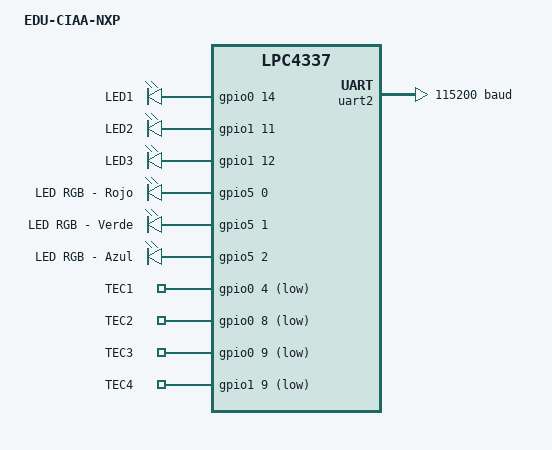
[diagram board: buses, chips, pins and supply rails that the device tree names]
/*
 * Copyright (c) 2026 UTN FRA - Laboratorio de Sistemas Embebidos
 * SPDX-License-Identifier: Apache-2.0
 */

/dts-v1/;
#include <nxp/nxp_lpc4337.dtsi>
#include <dt-bindings/pinctrl/lpc43xx-pinctrl.h>

/ {
	model = "EDU-CIAA-NXP";
	compatible = "ciaa,edu-ciaa-nxp";

	chosen {
		zephyr,sram  = &sram0;
		zephyr,flash = &flash0;
		zephyr,console = &uart2;
	};

	/*
	 * Nombres y pines confirmados contra la tabla de la sAPI del firmware
	 * oficial del proyecto CIAA (sapi_gpio.c). LED1/LED2/LED3 quedan en
	 * GPIO por default de reset (FUNC0); LEDR/LEDG/LEDB (el LED RGB)
	 * requieren FUNC4 explícito — ver el grupo leds_default de &pinctrl
	 * más abajo y la nota en lpc43xx-pinctrl.h.
	 */
	leds {
		compatible = "gpio-leds";

		led_1: led_1 {
			gpios = <&gpio0 14 GPIO_ACTIVE_HIGH>;
			label = "LED1";
		};

		led_2: led_2 {
			gpios = <&gpio1 11 GPIO_ACTIVE_HIGH>;
			label = "LED2";
		};

		led_3: led_3 {
			gpios = <&gpio1 12 GPIO_ACTIVE_HIGH>;
			label = "LED3";
		};

		led_r: led_r {
			gpios = <&gpio5 0 GPIO_ACTIVE_HIGH>;
			label = "LED RGB - Rojo";
		};

		led_g: led_g {
			gpios = <&gpio5 1 GPIO_ACTIVE_HIGH>;
			label = "LED RGB - Verde";
		};

		led_b: led_b {
			gpios = <&gpio5 2 GPIO_ACTIVE_HIGH>;
			label = "LED RGB - Azul";
		};
	};

	/* Pulsadores TEC1-TEC4. Activos en bajo con pull-up (convención
	 * estándar de botón a masa usada por la sAPI del proyecto CIAA). */
	buttons: gpio_keys {
		compatible = "gpio-keys";

		tec_1: tec_1 {
			gpios = <&gpio0 4 (GPIO_ACTIVE_LOW | GPIO_PULL_UP)>;
			label = "TEC1";
		};

		tec_2: tec_2 {
			gpios = <&gpio0 8 (GPIO_ACTIVE_LOW | GPIO_PULL_UP)>;
			label = "TEC2";
		};

		tec_3: tec_3 {
			gpios = <&gpio0 9 (GPIO_ACTIVE_LOW | GPIO_PULL_UP)>;
			label = "TEC3";
		};

		tec_4: tec_4 {
			gpios = <&gpio1 9 (GPIO_ACTIVE_LOW | GPIO_PULL_UP)>;
			label = "TEC4";
		};
	};

	aliases {
		led0 = &led_1;
		led1 = &led_2;
		led2 = &led_3;
		ledr = &led_r;
		ledg = &led_g;
		ledb = &led_b;
		sw0 = &tec_1;
		sw1 = &tec_2;
		sw2 = &tec_3;
		sw3 = &tec_4;
	};
};

&pinctrl {
	/* LED1-LED3 y TEC1-TEC4 ya están en GPIO por default de reset (FUNC0)
	 * y funcionan sin aplicar este estado. El grupo leds_default es
	 * imprescindible para LEDR/LEDG/LEDB (FUNC4, no es el default).
	 *
	 * [verificar] gpio-leds/gpio-keys son bindings genéricos de Zephyr sin
	 * propiedad pinctrl-0 declarada — no se referencia este estado desde
	 * los nodos "leds"/"buttons" de arriba. Hasta que se confirme el
	 * mecanismo correcto (pinctrl-0 en el nodo o un pinctrl_apply_state()
	 * manual desde código de placa), aplicar leds_default a mano antes de
	 * usar el LED RGB. */
	leds_default: leds_default {
		group1 {
			pinmux = <EDU_CIAA_PIN_LEDR>,
				 <EDU_CIAA_PIN_LEDG>,
				 <EDU_CIAA_PIN_LEDB>,
				 <EDU_CIAA_PIN_LED1>,
				 <EDU_CIAA_PIN_LED2>,
				 <EDU_CIAA_PIN_LED3>;
		};
	};

	buttons_default: buttons_default {
		group1 {
			pinmux = <EDU_CIAA_PIN_TEC1>,
				 <EDU_CIAA_PIN_TEC2>,
				 <EDU_CIAA_PIN_TEC3>,
				 <EDU_CIAA_PIN_TEC4>;
		};
	};

	uart2_default: uart2_default {
		group1 {
			pinmux = <EDU_CIAA_PIN_UART2_TXD>,
				 <EDU_CIAA_PIN_UART2_RXD>;
		};
	};
};

&uart2 {
	status = "okay";
	current-speed = <115200>;
	pinctrl-0 = <&uart2_default>;
	pinctrl-names = "default";
};
